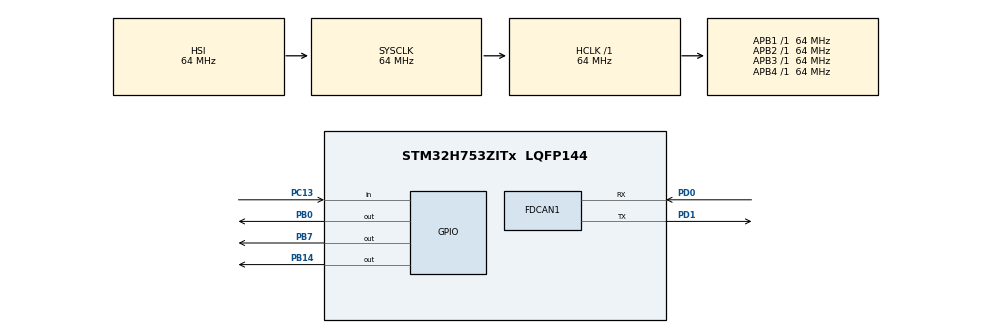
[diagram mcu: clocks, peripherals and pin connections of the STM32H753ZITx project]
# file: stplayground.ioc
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CORTEX_M7.CPU_DCache=Disabled
CORTEX_M7.CPU_ICache=Disabled
CORTEX_M7.MPU_Control=__NULL
CORTEX_M7.default_mode_Activation=1
FDCAN1.CalculateBaudRateNominal=8000000
FDCAN1.CalculateTimeBitNominal=125
FDCAN1.CalculateTimeQuantumNominal=41.666666666666664
Mcu.Family=STM32H7
Mcu.Name=STM32H753ZITx
Mcu.Package=LQFP144
NUCLEO-H753ZI.BUTTON=1
NUCLEO-H753ZI.LD1=true
NUCLEO-H753ZI.LD2=true
NUCLEO-H753ZI.LD3=true
NUCLEO-H753ZI.VCP=true
NVIC.EXTI15_10_IRQn=true\:0\:0\:false\:false\:true\:false\:true\:true
NVIC.PriorityGroup=NVIC_PRIORITYGROUP_4
PB0.Signal=GPIO_Output
PB14.Signal=GPIO_Output
PB7.Signal=GPIO_Output
PC13.Signal=GPIO_Input
PC14-OSC32_IN\ (OSC32_IN).Signal=RCC_OSC32_IN
PC15-OSC32_OUT\ (OSC32_OUT).Signal=RCC_OSC32_OUT
PD0.Mode=FDCAN_Activate
PD0.Signal=FDCAN1_RX
PD1.Mode=FDCAN_Activate
PD1.Signal=FDCAN1_TX
PD8.Signal=USART3_TX
PD9.Signal=USART3_RX
PH0-OSC_IN\ (PH0).Signal=RCC_OSC_IN
PH1-OSC_OUT\ (PH1).Signal=RCC_OSC_OUT
ProjectManager.HeapSize=0x200
ProjectManager.StackSize=0x400
ProjectManager.TargetToolchain=STM32CubeIDE
RCC.ADCFreq_Value=129000000
RCC.APB1Freq_Value=64000000
RCC.APB2Freq_Value=64000000
RCC.APB3Freq_Value=64000000
RCC.APB4Freq_Value=64000000
RCC.CortexFreq_Value=64000000
RCC.DIVM1=1
RCC.DIVN1=24
RCC.DIVQ1=4
RCC.HCLKFreq_Value=64000000
RCC.HSE_VALUE=8000000
RCC.PLLFRACN=0
RCC.PWR_Regulator_Voltage_Scale=PWR_REGULATOR_VOLTAGE_SCALE2
RCC.SYSCLKFreq_VALUE=64000000
RCC.USBFreq_Value=384000000
VP_MEMORYMAP_VS_MEMORYMAP.Mode=CurAppReg
VP_NUCLEO-H753ZI_VS_BSP_COMMON.Mode=COMMON
board=NUCLEO-H753ZI

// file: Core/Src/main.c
/* USER CODE BEGIN Header */
/**
  ******************************************************************************
  * @file           : main.c
  * @brief          : Main program body
  ******************************************************************************
  * @attention
  *
  * Copyright (c) 2025 STMicroelectronics.
  * All rights reserved.
  *
  * This software is licensed under terms that can be found in the LICENSE file
  * in the root directory of this software component.
  * If no LICENSE file comes with this software, it is provided AS-IS.
  *
  ******************************************************************************
  */
/* USER CODE END Header */
#include "main.h"

/* USER CODE BEGIN Includes */
#include <string.h>
/* USER CODE END Includes */

COM_InitTypeDef BspCOMInit;

FDCAN_HandleTypeDef hfdcan1;

/* USER CODE BEGIN PV */
// CAN test variables
uint32_t can_test_counter = 0;
uint8_t can_test_data[8];
FDCAN_TxHeaderTypeDef TxHeader;
uint32_t TxMailbox;

// Test message IDs
#define CAN_TEST_ID_1    0x123
#define CAN_TEST_ID_2    0x456
#define CAN_TEST_ID_3    0x789

// Test data patterns
uint8_t test_pattern_1[8] = {0x01, 0x02, 0x03, 0x04, 0x05, 0x06, 0x07, 0x08};
uint8_t test_pattern_2[8] = {0xAA, 0x55, 0xAA, 0x55, 0xAA, 0x55, 0xAA, 0x55};
uint8_t test_pattern_3[8] = {0xFF, 0x00, 0xFF, 0x00, 0xFF, 0x00, 0xFF, 0x00};

/* USER CODE END PV */

void SystemClock_Config(void);
static void MX_GPIO_Init(void);
static void MX_FDCAN1_Init(void);
/* USER CODE BEGIN PFP */
HAL_StatusTypeDef CAN_SendTestMessage(uint32_t message_id, uint8_t* data, uint8_t data_length);
void CAN_TestSequence(void);
/* USER CODE END PFP */

/* USER CODE BEGIN 0 */

/**
  * @brief  Send a CAN test message
  * @param  message_id: CAN message ID
  * @param  data: Pointer to data buffer
  * @param  data_length: Length of data (1-8 bytes)
  * @retval HAL status
  */
HAL_StatusTypeDef CAN_SendTestMessage(uint32_t message_id, uint8_t* data, uint8_t data_length)
{
  HAL_StatusTypeDef status;

  // Configure TxHeader
  TxHeader.Identifier = message_id;
  TxHeader.IdType = FDCAN_STANDARD_ID;
  TxHeader.TxFrameType = FDCAN_DATA_FRAME;
  TxHeader.DataLength = data_length << 16; // Data length in bits (multiply by 8)
  TxHeader.ErrorStateIndicator = FDCAN_ESI_ACTIVE;
  TxHeader.BitRateSwitch = FDCAN_BRS_OFF;
  TxHeader.FDFormat = FDCAN_CLASSIC_CAN;
  TxHeader.TxEventFifoControl = FDCAN_NO_TX_EVENTS;
  TxHeader.MessageMarker = 0;

  // Send the message
  status = HAL_FDCAN_AddMessageToTxFifoQ(&hfdcan1, &TxHeader, data);

  return status;
}

/**
  * @brief  Execute a sequence of CAN test messages
  * @retval None
  */
void CAN_TestSequence(void)
{
  HAL_StatusTypeDef status;

  // Test message 1: Sequential data pattern
  status = CAN_SendTestMessage(CAN_TEST_ID_1, test_pattern_1, 8);
  if (status == HAL_OK) {
    BSP_LED_On(LED_GREEN);
    HAL_Delay(100);
    BSP_LED_Off(LED_GREEN);
  }

  HAL_Delay(500);

  // Test message 2: Alternating pattern
  status = CAN_SendTestMessage(CAN_TEST_ID_2, test_pattern_2, 8);
  if (status == HAL_OK) {
    BSP_LED_On(LED_BLUE);
    HAL_Delay(100);
    BSP_LED_Off(LED_BLUE);
  }

  HAL_Delay(500);

  // Test message 3: Counter-based data
  for (int i = 0; i < 8; i++) {
    can_test_data[i] = (uint8_t)(can_test_counter + i);
  }
  status = CAN_SendTestMessage(CAN_TEST_ID_3, can_test_data, 8);
  if (status == HAL_OK) {
    BSP_LED_On(LED_RED);
    HAL_Delay(100);
    BSP_LED_Off(LED_RED);
  }

  can_test_counter++;
}

/* USER CODE END 0 */

int main(void)
{

  /* MCU Configuration--------------------------------------------------------*/

  /* Reset of all peripherals, Initializes the Flash interface and the Systick. */
  HAL_Init();

  /* Configure the system clock */
  SystemClock_Config();

  /* Initialize all configured peripherals */
  MX_GPIO_Init();
  MX_FDCAN1_Init();
  /* USER CODE BEGIN 2 */

  // Start FDCAN1
  if (HAL_FDCAN_Start(&hfdcan1) != HAL_OK) {
    Error_Handler();
  }

  // Print startup message
  printf("CAN Test Application Started\r\n");
  printf("FDCAN1 initialized and started\r\n");
  printf("Press USER button to send test messages\r\n");
  printf("Automatic test sequence every 3 seconds\r\n");

  /* USER CODE END 2 */

  /* Initialize leds */
  BSP_LED_Init(LED_GREEN);
  BSP_LED_Init(LED_BLUE);
  BSP_LED_Init(LED_RED);

  /* Initialize USER push-button, will be used to trigger an interrupt each time it's pressed.*/
  BSP_PB_Init(BUTTON_USER, BUTTON_MODE_EXTI);

  /* Initialize COM1 port (115200, 8 bits (7-bit data + 1 stop bit), no parity */
  BspCOMInit.BaudRate   = 115200;
  BspCOMInit.WordLength = COM_WORDLENGTH_8B;
  BspCOMInit.StopBits   = COM_STOPBITS_1;
  BspCOMInit.Parity     = COM_PARITY_NONE;
  BspCOMInit.HwFlowCtl  = COM_HWCONTROL_NONE;
  if (BSP_COM_Init(COM1, &BspCOMInit) != BSP_ERROR_NONE)
  {
    Error_Handler();
  }

  /* Infinite loop */
  /* USER CODE BEGIN WHILE */
  uint32_t last_test_time = 0;
  uint32_t current_time;

  while (1)
  {
    current_time = HAL_GetTick();

    // Automatic CAN test sequence every 3 seconds
    if ((current_time - last_test_time) >= 3000) {
      printf("Sending automatic CAN test sequence...\r\n");
      CAN_TestSequence();
      last_test_time = current_time;
    }

    // Check for USER button press (manual trigger)
    if (BSP_PB_GetState(BUTTON_USER) == GPIO_PIN_SET) {
      HAL_Delay(50); // Simple debounce
      if (BSP_PB_GetState(BUTTON_USER) == GPIO_PIN_SET) {
        printf("USER button pressed - sending manual CAN test sequence...\r\n");
        CAN_TestSequence();
        // Wait for button release
        while (BSP_PB_GetState(BUTTON_USER) == GPIO_PIN_SET) {
          HAL_Delay(10);
        }
      }
    }

    /* USER CODE END WHILE */

  }
}

void SystemClock_Config(void)
{
  RCC_OscInitTypeDef RCC_OscInitStruct = {0};
  RCC_ClkInitTypeDef RCC_ClkInitStruct = {0};

  /** Supply configuration update enable
  */
  HAL_PWREx_ConfigSupply(PWR_LDO_SUPPLY);

  /** Configure the main internal regulator output voltage
  */
  __HAL_PWR_VOLTAGESCALING_CONFIG(PWR_REGULATOR_VOLTAGE_SCALE2);

  while(!__HAL_PWR_GET_FLAG(PWR_FLAG_VOSRDY)) {}

  /** Initializes the RCC Oscillators according to the specified parameters
  * in the RCC_OscInitTypeDef structure.
  */
  RCC_OscInitStruct.OscillatorType = RCC_OSCILLATORTYPE_HSI;
  RCC_OscInitStruct.HSIState = RCC_HSI_DIV1;
  RCC_OscInitStruct.HSICalibrationValue = RCC_HSICALIBRATION_DEFAULT;
  RCC_OscInitStruct.PLL.PLLState = RCC_PLL_ON;
  RCC_OscInitStruct.PLL.PLLSource = RCC_PLLSOURCE_HSI;
  RCC_OscInitStruct.PLL.PLLM = 1;
  RCC_OscInitStruct.PLL.PLLN = 24;
  RCC_OscInitStruct.PLL.PLLP = 2;
  RCC_OscInitStruct.PLL.PLLQ = 4;
  RCC_OscInitStruct.PLL.PLLR = 2;
  RCC_OscInitStruct.PLL.PLLRGE = RCC_PLL1VCIRANGE_3;
  RCC_OscInitStruct.PLL.PLLVCOSEL = RCC_PLL1VCOWIDE;
  RCC_OscInitStruct.PLL.PLLFRACN = 0;
  if (HAL_RCC_OscConfig(&RCC_OscInitStruct) != HAL_OK)
  {
    Error_Handler();
  }

  /** Initializes the CPU, AHB and APB buses clocks
  */
  RCC_ClkInitStruct.ClockType = RCC_CLOCKTYPE_HCLK|RCC_CLOCKTYPE_SYSCLK
                              |RCC_CLOCKTYPE_PCLK1|RCC_CLOCKTYPE_PCLK2
                              |RCC_CLOCKTYPE_D3PCLK1|RCC_CLOCKTYPE_D1PCLK1;
  RCC_ClkInitStruct.SYSCLKSource = RCC_SYSCLKSOURCE_HSI;
  RCC_ClkInitStruct.SYSCLKDivider = RCC_SYSCLK_DIV1;
  RCC_ClkInitStruct.AHBCLKDivider = RCC_HCLK_DIV1;
  RCC_ClkInitStruct.APB3CLKDivider = RCC_APB3_DIV1;
  RCC_ClkInitStruct.APB1CLKDivider = RCC_APB1_DIV1;
  RCC_ClkInitStruct.APB2CLKDivider = RCC_APB2_DIV1;
  RCC_ClkInitStruct.APB4CLKDivider = RCC_APB4_DIV1;

  if (HAL_RCC_ClockConfig(&RCC_ClkInitStruct, FLASH_LATENCY_1) != HAL_OK)
  {
    Error_Handler();
  }
}

static void MX_FDCAN1_Init(void)
{

  hfdcan1.Instance = FDCAN1;
  hfdcan1.Init.FrameFormat = FDCAN_FRAME_CLASSIC;
  hfdcan1.Init.Mode = FDCAN_MODE_NORMAL;
  hfdcan1.Init.AutoRetransmission = DISABLE;
  hfdcan1.Init.TransmitPause = DISABLE;
  hfdcan1.Init.ProtocolException = DISABLE;
  hfdcan1.Init.NominalPrescaler = 16;
  hfdcan1.Init.NominalSyncJumpWidth = 1;
  hfdcan1.Init.NominalTimeSeg1 = 1;
  hfdcan1.Init.NominalTimeSeg2 = 1;
  hfdcan1.Init.DataPrescaler = 1;
  hfdcan1.Init.DataSyncJumpWidth = 1;
  hfdcan1.Init.DataTimeSeg1 = 1;
  hfdcan1.Init.DataTimeSeg2 = 1;
  hfdcan1.Init.MessageRAMOffset = 0;
  hfdcan1.Init.StdFiltersNbr = 0;
  hfdcan1.Init.ExtFiltersNbr = 0;
  hfdcan1.Init.RxFifo0ElmtsNbr = 0;
  hfdcan1.Init.RxFifo0ElmtSize = FDCAN_DATA_BYTES_8;
  hfdcan1.Init.RxFifo1ElmtsNbr = 0;
  hfdcan1.Init.RxFifo1ElmtSize = FDCAN_DATA_BYTES_8;
  hfdcan1.Init.RxBuffersNbr = 0;
  hfdcan1.Init.RxBufferSize = FDCAN_DATA_BYTES_8;
  hfdcan1.Init.TxEventsNbr = 0;
  hfdcan1.Init.TxBuffersNbr = 0;
  hfdcan1.Init.TxFifoQueueElmtsNbr = 0;
  hfdcan1.Init.TxFifoQueueMode = FDCAN_TX_FIFO_OPERATION;
  hfdcan1.Init.TxElmtSize = FDCAN_DATA_BYTES_8;
  if (HAL_FDCAN_Init(&hfdcan1) != HAL_OK)
  {
    Error_Handler();
  }

}

static void MX_GPIO_Init(void)
{

  /* GPIO Ports Clock Enable */
  __HAL_RCC_GPIOC_CLK_ENABLE();
  __HAL_RCC_GPIOH_CLK_ENABLE();
  __HAL_RCC_GPIOD_CLK_ENABLE();

}

void Error_Handler(void)
{
  __disable_irq();
  while (1)
  {
  }
}
